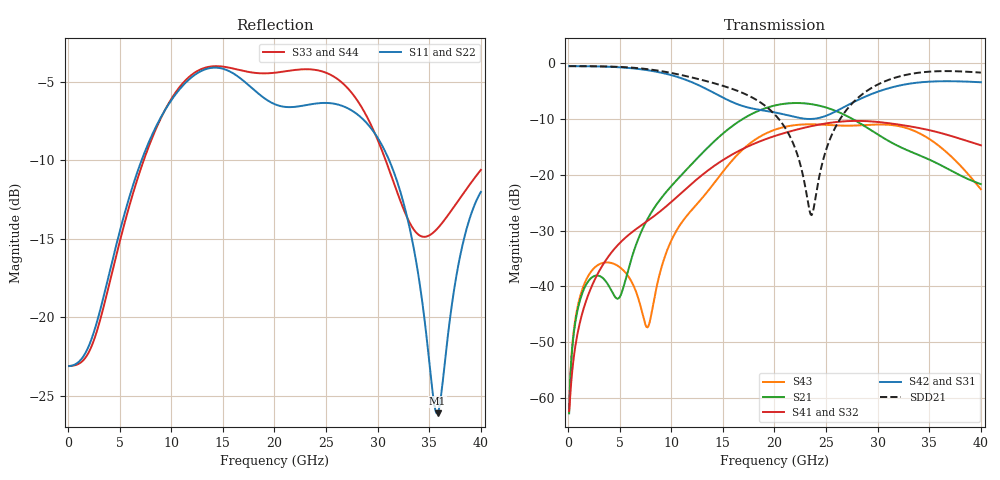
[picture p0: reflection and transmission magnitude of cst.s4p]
! E_s8_L1L3_p1000_round_g2: pair L1→L3, pitch 1 mm, two round antipads, 2 GND vias
! stackup: 8-layer 1.6 mm FR-4 (generic)
! ports: 1 P near, 2 N near, 3 P far, 4 N far
! CST Studio Suite 2025.5 Release from 2025-05-30, time domain (FIT, hexahedral, PBA), 162864 mesh cells, 41 s
! mesh: {'lpw': 20, 'lpb': 20, 'minstep': 0.0, 'ratio': 20}; ports: port 1 (face); port 2 (face); port 3 (face); port 4 (face)
! interpolated from CST's 1001 samples to the case grid
# Hz S RI R 50
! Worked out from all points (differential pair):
!   400 points, 100 MHz to 40 GHz, reference 50 ohm
!   strongest paths, dB at 100 MHz, 10.1 GHz, 20.1 GHz, 30.1 GHz, 40 GHz:
!     S42: -0.6, -2.3, -8.9, -5.1, -3.5
!     S31: -0.6, -2.3, -8.9, -5.1, -3.5
!     S41: -62.3, -24.7, -13.1, -10.6, -14.8
!     S32: -62.3, -24.7, -13.1, -10.6, -14.8
!     S21: -62.7, -21.9, -7.6, -12.9, -21.7
!     S43: -62.1, -31.4, -12.0, -11.1, -22.6
!   taken as a pair (ports 2,1 in; 4,3 out), SDD21 dB: -0.6, -1.9, -9.4, -3.8, -1.8
!   lowest |S11| = -26.1 dB at 35.8 GHz (marker M1), VSWR 1.10, Z = 53 - j4.1 ohm
!   |S11| at or under -10 dB: start of sweep to 7.125 GHz; 31.11 GHz to end of sweep
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1e8  -0.0698 0.000602  -0.000197 0.000709  0.9294 -0.0345  -0.000412 -0.000412
     -0.000197 0.000709  -0.0698 0.000602  -0.000412 -0.000412  0.9294 -0.0345
     0.929 -0.0345  -0.000667 -0.000377  -0.0699 0.000443  -0.000255 0.000747
     -0.000667 -0.000377  0.929 -0.0345  -0.000255 0.000747  -0.0699 0.000443
2.4e9  -0.0864 0.0142  0.0108 0.0056  0.5809 -0.722  -0.0092 -0.00564
       0.0108 0.0056  -0.0864 0.0142  -0.0092 -0.00564  0.5809 -0.722
       0.5812 -0.7221  -0.00894 -0.00566  -0.0824 0.00618  0.0115 0.00839
       -0.00894 -0.00566  0.5812 -0.7221  0.0115 0.00839  -0.0824 0.00618
8e9  0.0187 0.3717  0.0434 0.0111  -0.8418 -0.0971  0.0151 0.0377
     0.0434 0.0111  0.0187 0.3717  0.0151 0.0377  -0.8418 -0.0971
     -0.8417 -0.0975  0.0152 0.0374  -0.0484 0.3591  0.00433 0.00298
     0.0152 0.0374  -0.8417 -0.0975  0.00433 0.00298  -0.0484 0.3592
1.85e10  -0.3522 -0.3742  -0.0585 0.3681  0.3719 -0.0771  0.0146 0.1961
         -0.0585 0.3681  -0.3522 -0.3742  0.0146 0.1961  0.3719 -0.0771
         0.3714 -0.0773  0.0143 0.196  -0.5613 -0.2089  0.109 0.1861
         0.0143 0.196  0.3714 -0.0773  0.109 0.1861  -0.5613 -0.2089
3.03e10  0.3039 -0.1907  -0.1057 0.1924  -0.5503 0.1181  0.0864 0.2799
         -0.1057 0.1924  0.3039 -0.1907  0.0864 0.2799  -0.5503 0.1181
         -0.5491 0.1182  0.0872 0.2799  0.1814 -0.2959  0.149 0.2372
         0.0872 0.2799  -0.5491 0.1182  0.149 0.2372  0.1814 -0.2959
3.58e10  0.0308 -0.0386  0.1202 -0.0362  0.4412 0.519  0.0634 -0.2292
         0.1202 -0.0362  0.0308 -0.0386  0.0634 -0.2291  0.4412 0.519
         0.4423 0.5173  0.0641 -0.2304  -0.1042 -0.1609  0.00963 -0.1841
         0.0641 -0.2304  0.4423 0.5174  0.00963 -0.1841  -0.1042 -0.1609
4e10  0.1101 -0.2253  -0.0392 -0.0721  0.5241 -0.4093  -0.1843 -0.00834
      -0.0392 -0.0721  0.1101 -0.2253  -0.1843 -0.00834  0.5241 -0.4093
      0.5268 -0.4104  -0.1824 -0.00925  -0.2578 0.1427  -0.0735 0.00739
      -0.1824 -0.00925  0.5268 -0.4104  -0.0735 0.00739  -0.2578 0.1427
